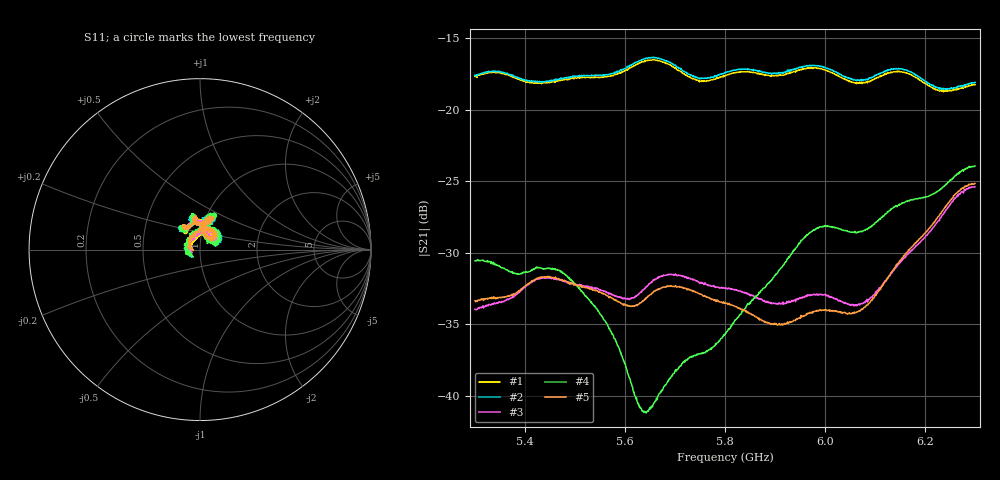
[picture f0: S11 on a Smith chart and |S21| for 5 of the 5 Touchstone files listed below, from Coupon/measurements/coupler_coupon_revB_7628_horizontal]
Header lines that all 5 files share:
! NanoVNA-App
! Start: 5,3GHz Stop: 6,3GHz Points: 1001
! S-Parameter data: F S11 S21 S12 S22
# Hz S RI R 50
!  Frequency  S11_Real  S11_Imag  S21_Real  S21_Imag  S12_Real  S12_Imag  S22_Real  S22_Imag
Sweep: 5.3 GHz to 6.3 GHz
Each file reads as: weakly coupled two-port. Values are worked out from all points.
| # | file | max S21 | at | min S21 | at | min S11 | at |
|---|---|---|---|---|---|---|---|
| 1 | S31_(loads_2a_4c).s2p | -16.52 dB | 5.657 GHz | -18.8 dB | 6.237 GHz | -27.0 dB | 6.3 GHz |
| 2 | S31_(loads_2a_4c)_2.s2p | -16.34 dB | 5.657 GHz | -18.6 dB | 6.229 GHz | -24.6 dB | 6.299 GHz |
| 3 | S41_(loads_2a_3b).s2p | -25.39 dB | 6.3 GHz | -34.0 dB | 5.303 GHz | -26.2 dB | 6.3 GHz |
| 4 | S41_(loads_2a_3c-tightened-fully)_2.s2p | -23.94 dB | 6.3 GHz | -41.2 dB | 5.642 GHz | -25.2 dB | 5.973 GHz |
| 5 | S41_(loads_2c_3b).s2p | -25.15 dB | 6.3 GHz | -35.0 dB | 5.905 GHz | -28.4 dB | 6.3 GHz |
